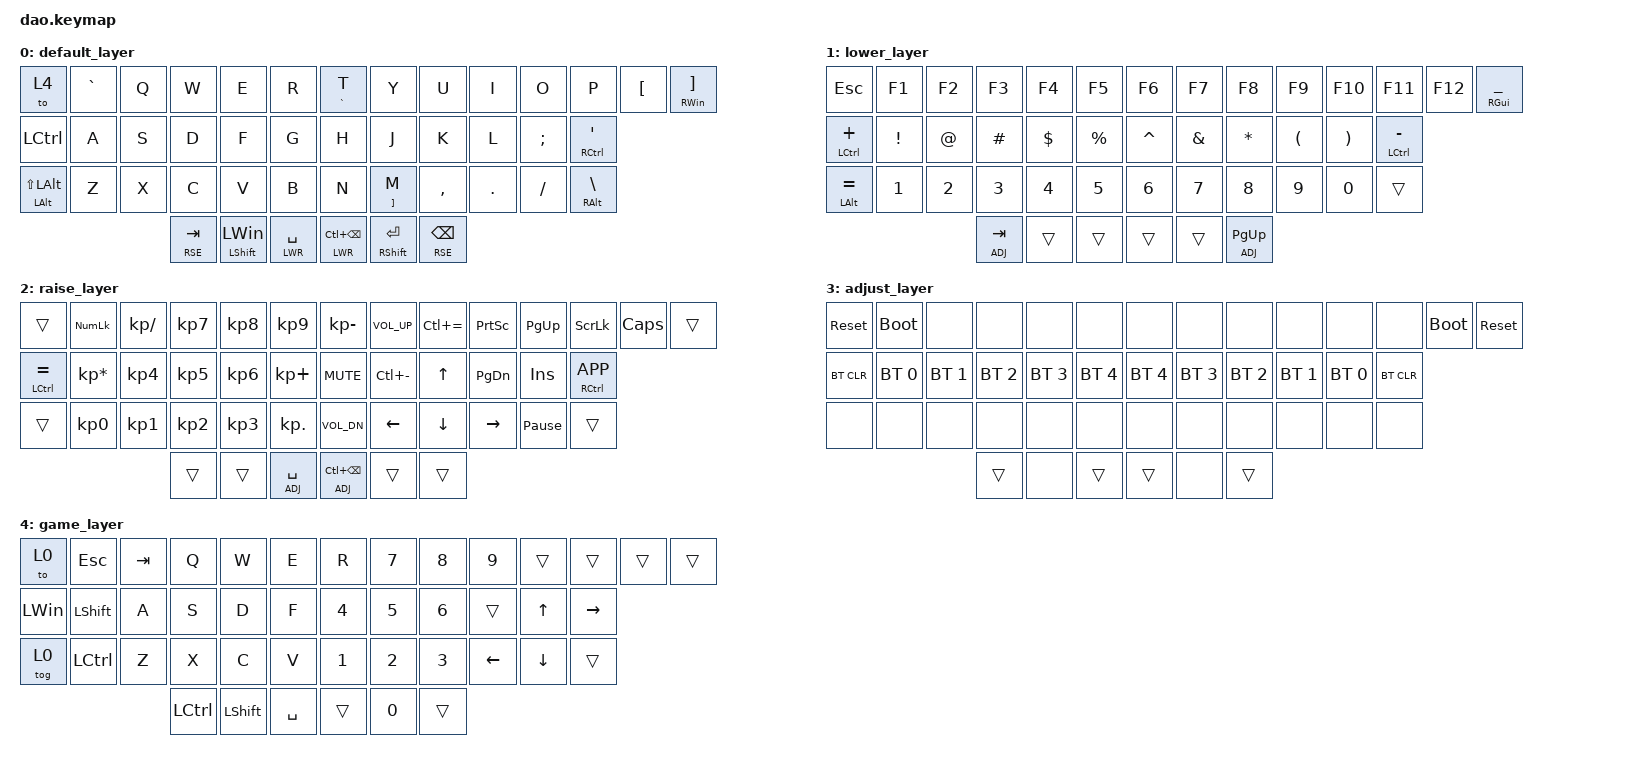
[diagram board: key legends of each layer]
/*
 * Copyright (c) 2021 Rafael Yumagulov
 *
 * SPDX-License-Identifier: MIT
 */

#include <behaviors.dtsi>
#include <dt-bindings/zmk/bt.h>
#include <dt-bindings/zmk/keys.h>

#define DEF 0
#define LWR 1
#define RSE 2
#define ADJ 3

&lt {
    quick_tap_ms = <200>;
};

&mt {
    quick_tap_ms = <200>;
};

/ {
    chosen {
        // zmk,matrix_transform = &default_transform;

        zmk,matrix_transform = &extra_keys_transform;
    };
};

/ {
    keymap {
        compatible = "zmk,keymap";

        default_layer {
            bindings = <
&to 4              &kp GRAVE  &kp Q  &kp W        &kp E           &kp R          &mt GRAVE T            &kp Y                &kp U              &kp I    &kp O     &kp P          &kp LBKT  &mt RWIN RBKT
&kp LCTRL          &kp A      &kp S  &kp D        &kp F           &kp G          &kp H                  &kp J                &kp K              &kp L    &kp SEMI  &mt RCTRL SQT
&mt LALT LS(LALT)  &kp Z      &kp X  &kp C        &kp V           &kp B          &kp N                  &mt RIGHT_BRACKET M  &kp COMMA          &kp DOT  &kp FSLH  &mt RALT BSLH
                                     &lt RSE TAB  &mt LSHFT LWIN  &lt LWR SPACE  &lt LWR LC(BACKSPACE)  &mt RSHFT ENTER      &lt RSE BACKSPACE
            >;
        };

        lower_layer {
            bindings = <
&kp ESC         &kp F1    &kp F2  &kp F3       &kp F4    &kp F5     &kp F6     &kp F7    &kp F8           &kp F9    &kp F10   &kp F11          &kp F12  &mt RGUI UNDER
&mt LCTRL PLUS  &kp EXCL  &kp AT  &kp HASH     &kp DLLR  &kp PRCNT  &kp CARET  &kp AMPS  &kp STAR         &kp LPAR  &kp RPAR  &mt LCTRL MINUS
&mt LALT EQUAL  &kp N1    &kp N2  &kp N3       &kp N4    &kp N5     &kp N6     &kp N7    &kp N8           &kp N9    &kp N0    &trans
                                  &lt ADJ TAB  &trans    &trans     &trans     &trans    &lt ADJ PAGE_UP
            >;
        };

        raise_layer {
            bindings = <
&trans           &kp KP_NUM       &kp KP_SLASH  &kp KP_N7  &kp KP_N8  &kp KP_N9      &kp KP_MINUS           &kp C_VOL_UP   &kp LC(EQUAL)  &kp PSCRN  &kp PG_UP        &kp SLCK         &kp CAPS  &trans
&mt LCTRL EQUAL  &kp KP_MULTIPLY  &kp KP_N4     &kp KP_N5  &kp KP_N6  &kp KP_PLUS    &kp C_MUTE             &kp LC(MINUS)  &kp UP         &kp PG_DN  &kp INS          &mt RCTRL K_APP
&trans           &kp KP_N0        &kp KP_N1     &kp KP_N2  &kp KP_N3  &kp KP_DOT     &kp C_VOL_DN           &kp LEFT       &kp DOWN       &kp RIGHT  &kp PAUSE_BREAK  &trans
                                                &trans     &trans     &lt ADJ SPACE  &lt ADJ LC(BACKSPACE)  &trans         &trans
            >;
        };

        adjust_layer {
            bindings = <
&sys_reset  &bootloader   &none         &none         &none         &none         &none         &none         &none         &none         &none         &none       &bootloader  &sys_reset
&bt BT_CLR  &bt BT_SEL 0  &bt BT_SEL 1  &bt BT_SEL 2  &bt BT_SEL 3  &bt BT_SEL 4  &bt BT_SEL 4  &bt BT_SEL 3  &bt BT_SEL 2  &bt BT_SEL 1  &bt BT_SEL 0  &bt BT_CLR
&none       &none         &none         &none         &none         &none         &none         &none         &none         &none         &none         &none
                                        &trans        &none         &trans        &trans        &none         &trans
            >;
        };

        game_layer {
            bindings = <
&to 0     &kp ESC    &kp TAB  &kp Q      &kp W      &kp E      &kp R   &kp N7  &kp N8  &kp N9    &trans    &trans     &trans  &trans
&kp LWIN  &kp LSHFT  &kp A    &kp S      &kp D      &kp F      &kp N4  &kp N5  &kp N6  &trans    &kp UP    &kp RIGHT
&tog 0    &kp LCTRL  &kp Z    &kp X      &kp C      &kp V      &kp N1  &kp N2  &kp N3  &kp LEFT  &kp DOWN  &trans
                              &kp LCTRL  &kp LSHFT  &kp SPACE  &trans  &kp N0  &trans
            >;
        };
    };
};
